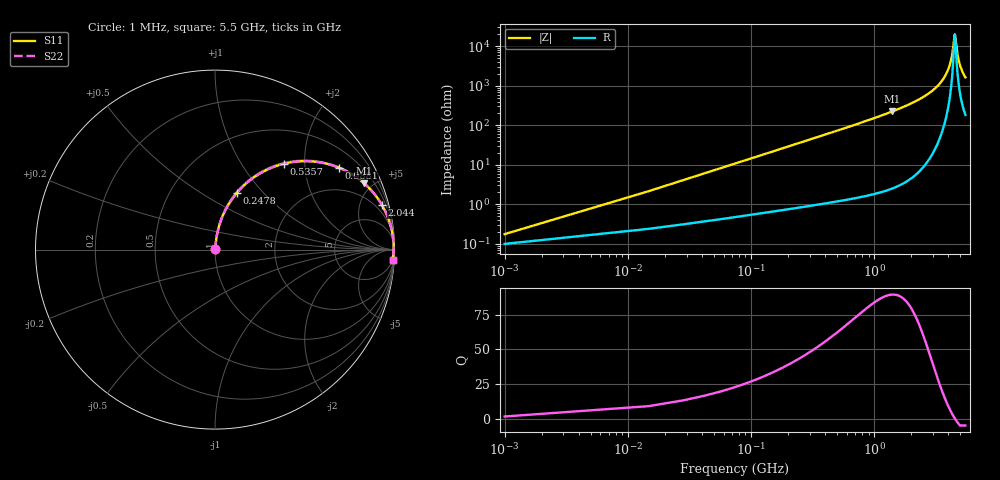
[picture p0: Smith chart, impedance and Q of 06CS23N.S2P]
! Coilcraft 0603CS-23N Chip Inductor
! 1 August 2002
# MHZ S MA R 50
!Freq  MagS11  AngS11  MagS21  AngS21  MagS12  AngS12  MagS22  AngS22
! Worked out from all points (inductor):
!   403 points, 1 MHz to 5.5 GHz, reference 50 ohm
!   read as one part in series: L = 23 nH near 28.42 MHz
!   highest Q = 89.4 at 1.399 GHz (marker M1), where L = 25.4 nH
!   self-resonance near 4.512 GHz
!   S11 on the Smith chart (normalised r, x): 1 MHz: 1.00, +0.00; 247.8 MHz: 1.02, +0.72; 535.7 MHz: 1.02, +1.57; 988.1 MHz: 1.04, +3.00; 2.044 GHz: 1.10, +7.43; 5.5 GHz: 5, -33
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1  0.001751 55.5  0.999 -0.1  0.999 -0.1  0.001751 55.5
42.13  0.06066 83.1  0.9945 -3.5  0.9945 -3.5  0.06066 83.1
69.55  0.09968 81.7  0.9905 -5.7  0.9905 -5.7  0.09968 81.7
138.1  0.1948 77.0  0.9747 -11.2  0.9747 -11.2  0.1948 77.0
247.78  0.3356 69.1  0.9343 -19.6  0.9343 -19.6  0.3356 69.1
535.69  0.613 51.3  0.7806 -37.8  0.7806 -37.8  0.613 51.3
919.57  0.8064 35.6  0.5816 -53.7  0.5816 -53.7  0.8064 35.6
988.12  0.8275 33.5  0.5517 -55.8  0.5517 -55.8  0.8275 33.5
1399.42  0.9092 24.0  0.4064 -65.4  0.4064 -65.4  0.9092 24.0
1838.14  0.9508 17.4  0.2986 -71.9  0.2986 -71.9  0.9508 17.4
2043.79  0.9625 15.0  0.2592 -74.2  0.2592 -74.2  0.9625 15.0
2756.71  0.9847 8.9  0.1551 -79.9  0.1551 -79.9  0.9847 8.9
3675.28  0.9942 3.6  0.06338 -82.9  0.06338 -82.9  0.9942 3.6
4182.55  0.9953 1.3  0.02393 -77.9  0.02393 -77.9  0.9953 1.3
4333.36  0.9952 0.7  0.01354 -69.0  0.01354 -69.0  0.9952 0.7
4497.88  0.9951 0.1  0.005122 -15.1  0.005122 -15.1  0.9951 0.1
4539.01  0.995 -0.1  0.00521 15.9  0.00521 15.9  0.995 -0.1
4593.85  0.9949 -0.3  0.007204 44.7  0.007204 44.7  0.9949 -0.3
4730.95  0.9946 -0.8  0.01502 68.4  0.01502 68.4  0.9946 -0.8
4909.18  0.994 -1.5  0.02593 76.0  0.02593 76.0  0.994 -1.5
5169.67  0.993 -2.4  0.04154 79.2  0.04154 79.2  0.993 -2.4
5500  0.9914 -3.4  0.06045 80.1  0.06045 80.1  0.9914 -3.4
